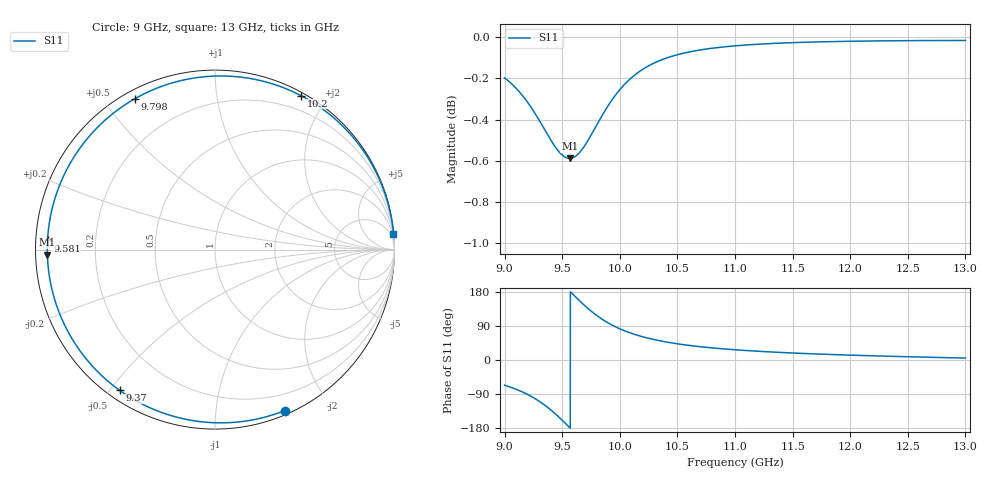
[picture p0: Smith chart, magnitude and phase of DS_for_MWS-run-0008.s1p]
! TOUCHSTONE file generated by CST DESIGN STUDIO
! Date and time: Wed Feb  5 13:31:20 2025
! Project name: C:\Work\MatlabApps\UnitCellOptimizationMatlab\CST\unitcell.cst
! Tree item: Tasks\Sweep1\SPara1\S-Parameters
! Header version: 2024
! Port assignment regex: !\s*Touchstone port\s*([0-9]+)\s*=\s*(CST MWS port|CST DES external port|CST DES block port)\s*(.+)\s* \(\"(.*)\"\)(\s*mode\s*([0-9]+))?.*
! Touchstone port assignment:
! Touchstone port 1 = CST DES external port 1 ("")
# GHz S MA R 50
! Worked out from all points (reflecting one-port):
!   4001 points, 9 GHz to 13 GHz, reference 50 ohm
!   lowest |S11| = -0.6 dB at 9.565 GHz (marker M1), VSWR 29.52, Z = 1.69 - j0.744 ohm
!   phase of S11 starts at -67 deg and turns -288 deg over the sweep
!   S11 on the Smith chart (normalised r, x): 9 GHz: 0.04, -1.52; 9.37 GHz: 0.03, -0.53; 9.581 GHz: 0.03, +0.03; 9.798 GHz: 0.03, +0.60; 10.2 GHz: 0.03, +1.70; 13 GHz: 0, +23
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9  0.9776 -66.5
9.042  0.9754 -70.7
9.108  0.9713 -78.2
9.222  0.9623 -94.5
9.3  0.9547 -108.8
9.37  0.9473 -124.1
9.433  0.9411 -140.0
9.5  0.9362 -158.9
9.533  0.9349 -168.6
9.565  0.9345 -178.3
9.581  0.9346 176.9
9.636  0.9366 160.4
9.697  0.9413 143.1
9.747  0.9463 130.0
9.798  0.9519 117.9
9.842  0.9567 108.6
9.889  0.9615 99.6
10  0.9711 82.3
10.098  0.9774 70.7
10.204  0.9824 60.8
10.34  0.9869 51.2
10.5  0.9903 42.7
10.721  0.9932 34.4
11  0.9952 27.0
11.5  0.997 18.5
12  0.9978 12.8
12.5  0.9981 8.6
13  0.9982 5.1
